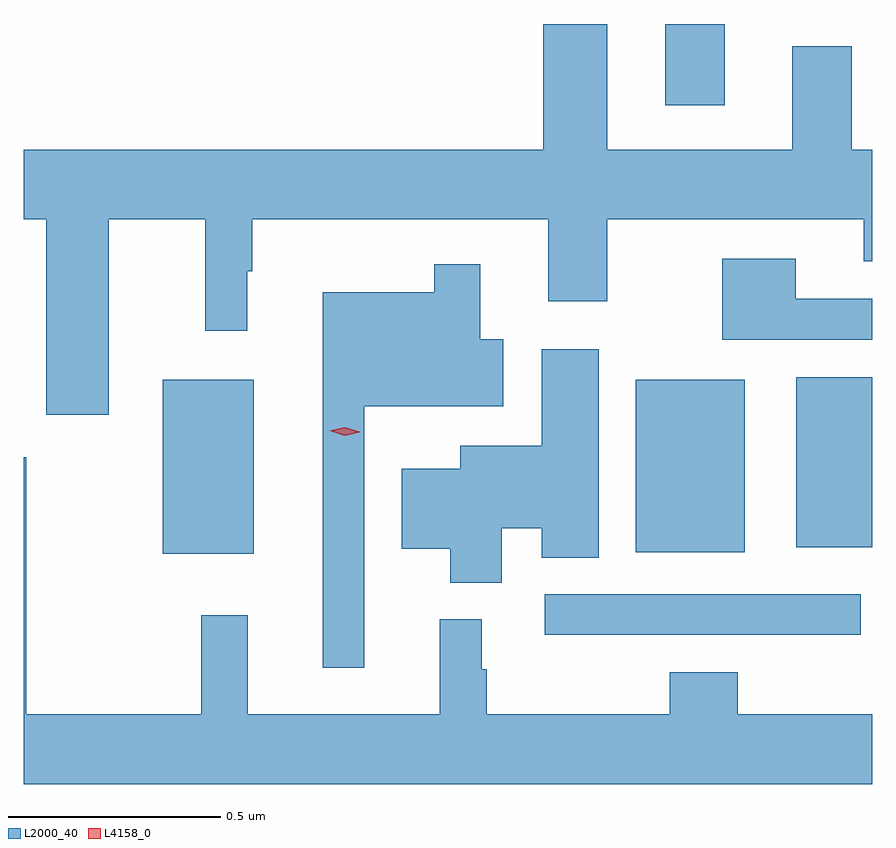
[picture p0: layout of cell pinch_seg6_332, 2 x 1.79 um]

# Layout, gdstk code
import gdstk
lib = gdstk.Library(unit=1e-6, precision=1e-09)
def R(c, l, rs):  # rectangles x0, y0, x1, y1
    for r in rs: c.add(gdstk.rectangle(r[:2], r[2:], *l))
def P(c, l, *ps):  # polygons
    for p in ps: c.add(gdstk.Polygon(p, *l))
L2000_40 = (2000, 40)
L4158_0 = (4158, 0)

pinch_seg6_332 = lib.new_cell('pinch_seg6_332')
R(pinch_seg6_332, L2000_40, [(662.205,982.32,662.95,982.416), (661.304,982.511,661.519,982.921), (662.42,982.514,662.677,982.921), (662.798,982.526,662.977,982.927), (662.489,983.568,662.629,983.76)])
P(pinch_seg6_332, L2000_40, [(661.177,983.3),(661.405,983.3),(661.405,983.037),(661.504,983.037),(661.504,983.177),(661.516,983.177),(661.516,983.3),(662.213,983.3),(662.213,983.106),(662.353,983.106),(662.353,983.3),(662.957,983.3),(662.957,983.201),(662.977,983.201),(662.977,983.464),(662.929,983.464),(662.929,983.707),(662.789,983.707),(662.789,983.464),(662.353,983.464),(662.353,983.76),(662.201,983.76),(662.201,983.464),(660.977,983.464),(660.977,983.3),(661.03,983.3),(661.03,982.839),(661.177,982.839)],
  [(662.977,983.112),(662.797,983.112),(662.797,983.206),(662.624,983.206),(662.624,983.016),(662.977,983.016)],
  [(661.779,982.859),(662.107,982.859),(662.107,983.017),(662.053,983.017),(662.053,983.194),(661.944,983.194),(661.944,983.128),(661.682,983.128),(661.682,982.242),(661.779,982.242)],
  [(662.104,982.571),(662.198,982.571),(662.198,982.501),(662.332,982.501),(662.332,982.993),(662.198,982.993),(662.198,982.765),(662.006,982.765),(662.006,982.711),(661.868,982.711),(661.868,982.523),(661.982,982.523),(661.982,982.442),(662.104,982.442)],
  [(662.977,982.132),(662.66,982.132),(662.66,982.231),(662.5,982.231),(662.5,982.132),(662.068,982.132),(662.068,982.239),(662.056,982.239),(662.056,982.357),(661.958,982.357),(661.958,982.132),(661.505,982.132),(661.505,982.366),(661.395,982.366),(661.395,982.132),(660.982,982.132),(660.982,982.738),(660.977,982.738),(660.977,981.968),(662.977,981.968)])
P(pinch_seg6_332, L4158_0, [(661.733,982.789),(661.698,982.801),(661.698,982.801),(661.698,982.801),(661.734,982.809),(661.769,982.798),(661.769,982.797),(661.769,982.797)])

lib.write_gds('pinch_seg6_332.gds')
